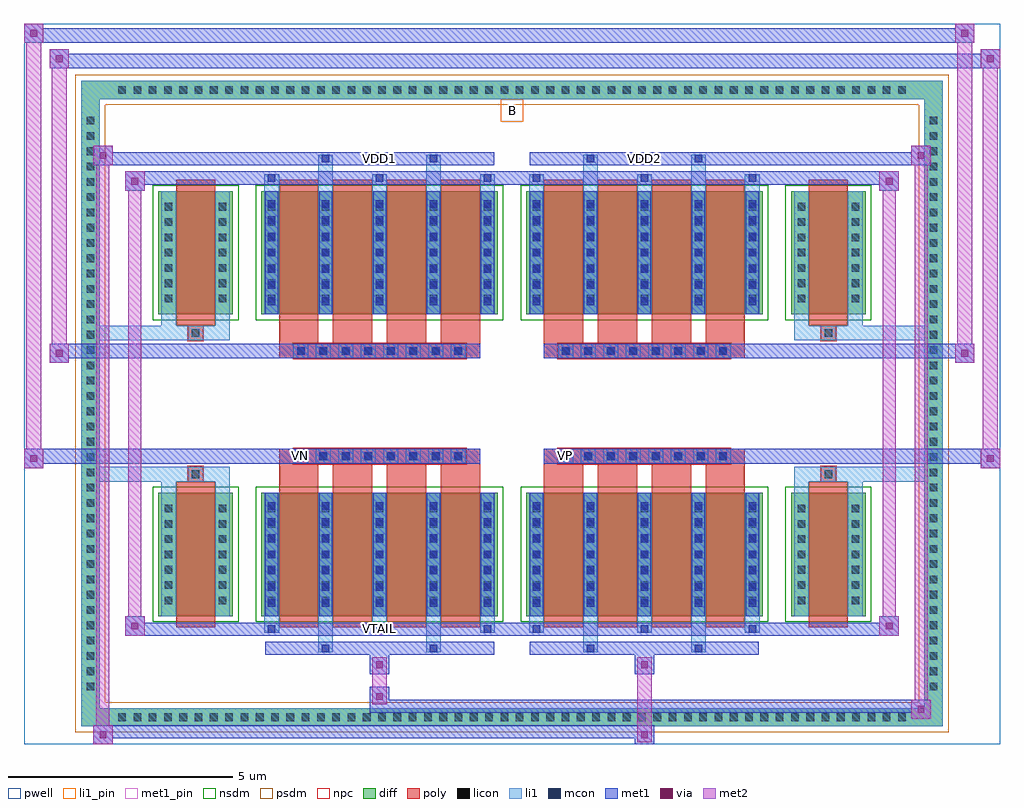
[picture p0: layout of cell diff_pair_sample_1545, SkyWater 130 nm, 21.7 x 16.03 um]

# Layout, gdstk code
import gdstk
lib = gdstk.Library(unit=1e-6, precision=5e-09)
def R(c, l, rs):  # rectangles x0, y0, x1, y1
    for r in rs: c.add(gdstk.rectangle(r[:2], r[2:], *l))
def A(c, l, x, y, w, h, nx, ny, dx, dy):  # array of equal rectangles
    R(c, l, [(x+i*dx, y+j*dy, x+i*dx+w, y+j*dy+h) for i in range(nx) for j in range(ny)])
def P(c, l, *ps):  # polygons
    for p in ps: c.add(gdstk.Polygon(p, *l))
pwell = (64, 44)
diff = (65, 20)
poly = (66, 20)
licon = (66, 44)
li1_pin = (67, 16)
li1 = (67, 20)
mcon = (67, 44)
met1_pin = (68, 16)
met1 = (68, 20)
via = (68, 44)
met2 = (69, 20)
nsdm = (93, 44)
psdm = (94, 20)
npc = (95, 20)

diff_pair_sample_1545 = lib.new_cell('diff_pair_sample_1545')
R(diff_pair_sample_1545, pwell, [(-10.85,-7.58,10.85,8.45), (-8.17,-5.77,-0.01,-0.805), (0.01,-5.77,8.17,-0.805), (-8.17,0.805,-0.01,5.77), (0.01,0.805,8.17,5.77)])
A(diff_pair_sample_1545, diff, -8.875, -7.18, 0.41, 0.41, 52, 2, 0.34, 13.95)
A(diff_pair_sample_1545, diff, -9.58, -6.495, 0.41, 0.41, 1, 38, 0, 0.34)
A(diff_pair_sample_1545, diff, 9.17, -6.495, 0.41, 0.41, 1, 38, 0, 0.34)
R(diff_pair_sample_1545, diff, [(-8.875,-7.18,8.875,-6.77), (-9.58,-6.495,-9.17,6.495), (9.17,-6.495,9.58,6.495), (-7.86,-4.725,-6.21,-1.985), (-5.57,-4.725,-0.32,-1.985), (0.32,-4.725,5.57,-1.985), (6.21,-4.725,7.86,-1.985), (-7.86,1.985,-6.21,4.725), (-5.57,1.985,-0.32,4.725), (0.32,1.985,5.57,4.725), (6.21,1.985,7.86,4.725), (-8.875,6.77,8.875,7.18)])
P(diff_pair_sample_1545, diff, [(9.58,7.18),(-9.58,7.18),(-9.58,-6.77),(-9.17,-6.77),(-9.17,6.77),(9.17,6.77),(9.17,-6.77),(-9.17,-6.77),(-9.58,-6.77),(-9.58,-7.18),(9.58,-7.18)])
A(diff_pair_sample_1545, poly, -5.18, -4.975, 0.87, 3.24, 4, 2, 1.2, 6.71)
A(diff_pair_sample_1545, poly, 0.71, -4.975, 0.87, 3.24, 4, 2, 1.2, 6.71)
A(diff_pair_sample_1545, poly, -5.18, -1.735, 0.87, 0.4, 4, 2, 1.2, 3.07)
A(diff_pair_sample_1545, poly, 0.71, -1.735, 0.87, 0.4, 4, 2, 1.2, 3.07)
A(diff_pair_sample_1545, poly, -4.86, -1.335, 0.33, 0.33, 8, 2, 0.5, 2.34)
A(diff_pair_sample_1545, poly, 1.03, -1.335, 0.33, 0.33, 8, 2, 0.5, 2.34)
R(diff_pair_sample_1545, poly, [(-7.47,-4.975,-6.6,-1.735), (6.6,-4.975,7.47,-1.735), (-7.2,-1.735,-6.87,-1.405), (-7.2,-1.735,-6.87,-1.405), (6.87,-1.735,7.2,-1.405), (6.87,-1.735,7.2,-1.405), (-5.18,-1.335,-0.71,-1.005), (0.71,-1.335,5.18,-1.005), (-5.18,1.005,-0.71,1.335), (0.71,1.005,5.18,1.335), (-7.2,1.405,-6.87,1.735), (-7.2,1.405,-6.87,1.735), (6.87,1.405,7.2,1.735), (6.87,1.405,7.2,1.735), (-7.47,1.735,-6.6,4.975), (6.6,1.735,7.47,4.975)])
A(diff_pair_sample_1545, licon, -8.755, -7.06, 0.17, 0.17, 52, 2, 0.34, 13.95)
A(diff_pair_sample_1545, licon, -9.46, -6.375, 0.17, 0.17, 1, 38, 0, 0.34)
A(diff_pair_sample_1545, licon, 9.29, -6.375, 0.17, 0.17, 1, 38, 0, 0.34)
A(diff_pair_sample_1545, licon, -7.72, -4.46, 0.17, 0.17, 1, 7, 0, 0.34)
A(diff_pair_sample_1545, licon, -6.52, -4.46, 0.17, 0.17, 1, 7, 0, 0.34)
A(diff_pair_sample_1545, licon, -5.43, -4.46, 0.17, 0.17, 5, 7, 1.2, 0.34)
A(diff_pair_sample_1545, licon, 0.46, -4.46, 0.17, 0.17, 5, 7, 1.2, 0.34)
A(diff_pair_sample_1545, licon, 6.35, -4.46, 0.17, 0.17, 1, 7, 0, 0.34)
A(diff_pair_sample_1545, licon, 7.55, -4.46, 0.17, 0.17, 1, 7, 0, 0.34)
A(diff_pair_sample_1545, licon, -4.78, -1.255, 0.17, 0.17, 8, 2, 0.5, 2.34)
A(diff_pair_sample_1545, licon, 1.11, -1.255, 0.17, 0.17, 8, 2, 0.5, 2.34)
A(diff_pair_sample_1545, licon, -7.72, 2.25, 0.17, 0.17, 1, 7, 0, 0.34)
A(diff_pair_sample_1545, licon, -6.52, 2.25, 0.17, 0.17, 1, 7, 0, 0.34)
A(diff_pair_sample_1545, licon, -5.43, 2.25, 0.17, 0.17, 5, 7, 1.2, 0.34)
A(diff_pair_sample_1545, licon, 0.46, 2.25, 0.17, 0.17, 5, 7, 1.2, 0.34)
A(diff_pair_sample_1545, licon, 6.35, 2.25, 0.17, 0.17, 1, 7, 0, 0.34)
A(diff_pair_sample_1545, licon, 7.55, 2.25, 0.17, 0.17, 1, 7, 0, 0.34)
R(diff_pair_sample_1545, licon, [(-7.12,-1.655,-6.95,-1.485), (6.95,-1.655,7.12,-1.485), (-7.12,1.485,-6.95,1.655), (6.95,1.485,7.12,1.655)])
R(diff_pair_sample_1545, li1_pin, [(-0.25,6.27,0.25,6.77)])
A(diff_pair_sample_1545, li1, -8.835, -7.14, 0.33, 0.33, 52, 2, 0.34, 13.95)
A(diff_pair_sample_1545, li1, -9.54, -6.455, 0.33, 0.33, 1, 38, 0, 0.34)
A(diff_pair_sample_1545, li1, 9.21, -6.455, 0.33, 0.33, 1, 38, 0, 0.34)
A(diff_pair_sample_1545, li1, -5.51, -5.1, 0.33, 0.375, 3, 2, 2.4, 9.825)
A(diff_pair_sample_1545, li1, -5.43, -5.1, 0.17, 0.17, 3, 2, 2.4, 10.03)
A(diff_pair_sample_1545, li1, 0.38, -5.1, 0.33, 0.375, 3, 2, 2.4, 9.825)
A(diff_pair_sample_1545, li1, 0.46, -5.1, 0.17, 0.17, 3, 2, 2.4, 10.03)
A(diff_pair_sample_1545, li1, -5.51, -4.725, 0.33, 2.74, 5, 2, 1.2, 6.71)
A(diff_pair_sample_1545, li1, 0.38, -4.725, 0.33, 2.74, 5, 2, 1.2, 6.71)
A(diff_pair_sample_1545, li1, -7.8, -4.54, 0.33, 0.33, 1, 7, 0, 0.34)
A(diff_pair_sample_1545, li1, -6.6, -4.54, 0.33, 0.33, 1, 7, 0, 0.34)
A(diff_pair_sample_1545, li1, -5.51, -4.54, 0.33, 0.33, 5, 7, 1.2, 0.34)
A(diff_pair_sample_1545, li1, 0.38, -4.54, 0.33, 0.33, 5, 7, 1.2, 0.34)
A(diff_pair_sample_1545, li1, 6.27, -4.54, 0.33, 0.33, 1, 7, 0, 0.34)
A(diff_pair_sample_1545, li1, 7.47, -4.54, 0.33, 0.33, 1, 7, 0, 0.34)
A(diff_pair_sample_1545, li1, -5.43, -4.52, 0.17, 0.17, 5, 7, 1.2, 0.36)
A(diff_pair_sample_1545, li1, -5.43, -4.52, 0.17, 2.33, 5, 2, 1.2, 6.71)
A(diff_pair_sample_1545, li1, 0.46, -4.52, 0.17, 0.17, 5, 7, 1.2, 0.36)
A(diff_pair_sample_1545, li1, 0.46, -4.52, 0.17, 2.33, 5, 2, 1.2, 6.71)
A(diff_pair_sample_1545, li1, -4.86, -1.335, 0.33, 0.33, 8, 2, 0.5, 2.34)
A(diff_pair_sample_1545, li1, 1.03, -1.335, 0.33, 0.33, 8, 2, 0.5, 2.34)
A(diff_pair_sample_1545, li1, -7.8, 2.17, 0.33, 0.33, 1, 7, 0, 0.34)
A(diff_pair_sample_1545, li1, -6.6, 2.17, 0.33, 0.33, 1, 7, 0, 0.34)
A(diff_pair_sample_1545, li1, -5.51, 2.17, 0.33, 0.33, 5, 7, 1.2, 0.34)
A(diff_pair_sample_1545, li1, 0.38, 2.17, 0.33, 0.33, 5, 7, 1.2, 0.34)
A(diff_pair_sample_1545, li1, 6.27, 2.17, 0.33, 0.33, 1, 7, 0, 0.34)
A(diff_pair_sample_1545, li1, 7.47, 2.17, 0.33, 0.33, 1, 7, 0, 0.34)
A(diff_pair_sample_1545, li1, -5.43, 2.19, 0.17, 0.17, 5, 7, 1.2, 0.36)
A(diff_pair_sample_1545, li1, 0.46, 2.19, 0.17, 0.17, 5, 7, 1.2, 0.36)
R(diff_pair_sample_1545, li1, [(-9.58,-7.18,-9.17,-6.77), (-9.58,-7.18,-9.17,-6.77), (-9.17,-7.18,9.17,-6.77), (9.17,-7.18,9.58,-6.77), (9.17,-7.18,9.58,-6.77), (-9.58,-6.77,-9.17,6.77), (9.17,-6.77,9.58,6.77), (-4.31,-5.53,-3.98,-4.725), (-4.23,-5.53,-4.06,-5.36), (-1.91,-5.53,-1.58,-4.725), (-1.83,-5.53,-1.66,-5.36), (1.58,-5.53,1.91,-4.725), (1.66,-5.53,1.83,-5.36), (3.98,-5.53,4.31,-4.725), (4.06,-5.53,4.23,-5.36), (-7.8,-4.725,-7.47,-1.985), (-6.6,-4.725,-6.27,-1.985), (6.27,-4.725,6.6,-1.985), (7.47,-4.725,7.8,-1.985), (-7.8,-1.985,-7.47,-1.405), (-6.6,-1.985,-6.27,-1.405), (6.27,-1.985,6.6,-1.405), (7.47,-1.985,7.8,-1.405), (-9.58,-1.735,-7.2,-1.405), (-7.8,-1.735,-7.2,-1.405), (-7.2,-1.735,-6.87,-1.405), (-6.87,-1.735,-6.27,-1.405), (6.27,-1.735,6.87,-1.405), (6.87,-1.735,7.2,-1.405), (6.87,-1.735,9.58,-1.405), (7.2,-1.735,7.8,-1.405), (-9.58,1.405,-7.2,1.735), (-7.8,1.405,-7.2,1.735), (-7.8,1.405,-7.47,1.985), (-7.2,1.405,-6.87,1.735), (-6.87,1.405,-6.27,1.735), (-6.6,1.405,-6.27,1.985), (6.27,1.405,6.87,1.735), (6.27,1.405,6.6,1.985), (6.87,1.405,7.2,1.735), (6.87,1.405,9.58,1.735), (7.2,1.405,7.8,1.735), (7.47,1.405,7.8,1.985), (-7.8,1.985,-7.47,4.725), (-6.6,1.985,-6.27,4.725), (6.27,1.985,6.6,4.725), (7.47,1.985,7.8,4.725), (-4.31,4.725,-3.98,5.53), (-1.91,4.725,-1.58,5.53), (1.58,4.725,1.91,5.53), (3.98,4.725,4.31,5.53), (-4.23,5.36,-4.06,5.53), (-1.83,5.36,-1.66,5.53), (1.66,5.36,1.83,5.53), (4.06,5.36,4.23,5.53), (-9.58,6.77,-9.17,7.18), (-9.58,6.77,-9.17,7.18), (-9.17,6.77,9.17,7.18), (9.17,6.77,9.58,7.18), (9.17,6.77,9.58,7.18)])
A(diff_pair_sample_1545, mcon, -5.43, -5.1, 0.17, 0.17, 3, 2, 2.4, 10.03)
A(diff_pair_sample_1545, mcon, 0.46, -5.1, 0.17, 0.17, 3, 2, 2.4, 10.03)
A(diff_pair_sample_1545, mcon, -5.43, -4.52, 0.17, 0.17, 5, 7, 1.2, 0.36)
A(diff_pair_sample_1545, mcon, 0.46, -4.52, 0.17, 0.17, 5, 7, 1.2, 0.36)
A(diff_pair_sample_1545, mcon, -4.78, -1.255, 0.17, 0.17, 8, 2, 0.5, 2.34)
A(diff_pair_sample_1545, mcon, 1.11, -1.255, 0.17, 0.17, 8, 2, 0.5, 2.34)
A(diff_pair_sample_1545, mcon, -5.43, 2.19, 0.17, 0.17, 5, 7, 1.2, 0.36)
A(diff_pair_sample_1545, mcon, 0.46, 2.19, 0.17, 0.17, 5, 7, 1.2, 0.36)
R(diff_pair_sample_1545, mcon, [(-4.23,-5.53,-4.06,-5.36), (-1.83,-5.53,-1.66,-5.36), (1.66,-5.53,1.83,-5.36), (4.06,-5.53,4.23,-5.36), (-4.23,5.36,-4.06,5.53), (-1.83,5.36,-1.66,5.53), (1.66,5.36,1.83,5.53), (4.06,5.36,4.23,5.53)])
R(diff_pair_sample_1545, met1_pin, [(-3.08,-5.14,-2.81,-4.87), (-4.83,-1.295,-4.56,-1.025), (1.06,-1.295,1.33,-1.025), (-3.08,5.32,-2.81,5.59), (2.81,5.32,3.08,5.59)])
A(diff_pair_sample_1545, met1, -5.49, -5.16, 0.29, 0.29, 3, 2, 2.4, 10.03)
A(diff_pair_sample_1545, met1, 0.4, -5.16, 0.29, 0.29, 3, 2, 2.4, 10.03)
A(diff_pair_sample_1545, met1, -5.49, -4.725, 0.29, 2.74, 5, 2, 1.2, 6.71)
A(diff_pair_sample_1545, met1, 0.4, -4.725, 0.29, 2.74, 5, 2, 1.2, 6.71)
A(diff_pair_sample_1545, met1, -5.49, -4.58, 0.29, 0.29, 5, 7, 1.2, 0.36)
A(diff_pair_sample_1545, met1, 0.4, -4.58, 0.29, 0.29, 5, 7, 1.2, 0.36)
A(diff_pair_sample_1545, met1, -4.84, -1.315, 0.29, 0.29, 8, 2, 0.5, 2.34)
A(diff_pair_sample_1545, met1, 1.05, -1.315, 0.29, 0.29, 8, 2, 0.5, 2.34)
A(diff_pair_sample_1545, met1, -5.49, 2.13, 0.29, 0.29, 5, 7, 1.2, 0.36)
A(diff_pair_sample_1545, met1, 0.4, 2.13, 0.29, 0.29, 5, 7, 1.2, 0.36)
R(diff_pair_sample_1545, met1, [(-9.31,-7.58,-8.88,-7.15), (2.73,-7.58,3.16,-7.15), (-9.31,-7.44,3.16,-7.15), (8.88,-7.01,9.31,-6.58), (-3.16,-6.87,9.31,-6.58), (-3.16,-6.73,-2.73,-6.3), (-3.16,-6.02,-2.73,-5.59), (2.73,-6.02,3.16,-5.59), (-5.49,-5.59,-0.4,-5.3), (-4.29,-5.59,-4,-5.3), (-1.89,-5.59,-1.6,-5.3), (0.4,-5.59,5.49,-5.3), (1.6,-5.59,1.89,-5.3), (4,-5.59,4.29,-5.3), (-8.6,-5.16,-8.17,-4.73), (-8.6,-5.16,-5.49,-4.87), (-5.49,-5.16,-0.4,-4.87), (-0.4,-5.16,0.4,-4.87), (0.4,-5.16,5.49,-4.87), (5.49,-5.16,8.6,-4.87), (8.17,-5.16,8.6,-4.73), (-10.85,-1.435,-10.42,-1.005), (10.42,-1.435,10.85,-1.005), (-10.85,-1.335,-0.71,-1.005), (-5.18,-1.335,-0.71,-1.005), (0.71,-1.335,5.18,-1.005), (0.71,-1.335,10.85,-1.005), (-10.28,0.905,-9.85,1.335), (9.85,0.905,10.28,1.335), (-10.28,1.005,-5.18,1.335), (-5.18,1.005,-0.71,1.335), (0.71,1.005,5.18,1.335), (5.18,1.005,10.28,1.335), (-8.6,4.73,-8.17,5.16), (8.17,4.73,8.6,5.16), (-8.6,4.87,-5.49,5.16), (-5.49,4.87,-0.4,5.16), (-0.4,4.87,0.4,5.16), (0.4,4.87,5.49,5.16), (5.49,4.87,8.6,5.16), (-9.31,5.3,-8.88,5.73), (-9.31,5.3,-5.49,5.59), (-5.49,5.3,-0.4,5.59), (-4.29,5.3,-4,5.59), (-1.89,5.3,-1.6,5.59), (0.4,5.3,5.49,5.59), (1.6,5.3,1.89,5.59), (4,5.3,4.29,5.59), (5.49,5.3,9.31,5.59), (8.88,5.3,9.31,5.73), (-10.28,7.45,-9.85,7.88), (-10.28,7.45,-8.17,7.78), (-8.17,7.45,8.17,7.78), (8.17,7.45,10.85,7.78), (10.42,7.45,10.85,7.88), (-10.85,8.02,-10.42,8.45), (-10.85,8.02,-8.17,8.35), (-8.17,8.02,8.17,8.35), (8.17,8.02,10.28,8.35), (9.85,8.02,10.28,8.45)])
R(diff_pair_sample_1545, via, [(-9.17,-7.44,-9.02,-7.29), (2.87,-7.44,3.02,-7.29), (9.02,-6.87,9.17,-6.72), (-3.02,-6.59,-2.87,-6.44), (-3.02,-5.88,-2.87,-5.73), (2.87,-5.88,3.02,-5.73), (-8.46,-5.02,-8.31,-4.87), (8.31,-5.02,8.46,-4.87), (-10.71,-1.295,-10.56,-1.145), (10.56,-1.295,10.71,-1.145), (-10.14,1.045,-9.99,1.195), (9.99,1.045,10.14,1.195), (-8.46,4.87,-8.31,5.02), (8.31,4.87,8.46,5.02), (-9.17,5.44,-9.02,5.59), (9.02,5.44,9.17,5.59), (-10.14,7.59,-9.99,7.74), (10.56,7.59,10.71,7.74), (-10.71,8.16,-10.56,8.31), (9.99,8.16,10.14,8.31)])
R(diff_pair_sample_1545, met2, [(-9.31,-7.58,-8.88,-7.15), (-9.24,-7.58,-8.95,5.73), (-8.95,-7.58,-8.88,-7.15), (-9.26,-7.53,-8.93,-7.2), (2.78,-7.53,3.11,-7.2), (2.78,-7.2,3.11,-5.97), (8.88,-7.01,9.31,-6.58), (8.95,-7.01,9.24,5.73), (9.24,-7.01,9.31,-6.58), (8.93,-6.96,9.26,-6.63), (-3.11,-6.68,-2.78,-6.35), (-3.11,-6.35,-2.78,-5.97), (-3.11,-5.97,-2.78,-5.64), (2.78,-5.97,3.11,-5.64), (-8.6,-5.16,-8.17,-4.73), (-8.53,-5.16,-8.24,5.16), (-8.24,-5.16,-8.17,-4.73), (8.17,-5.16,8.6,-4.73), (8.24,-5.16,8.53,5.16), (8.53,-5.16,8.6,-4.73), (-8.55,-5.11,-8.22,-4.78), (8.22,-5.11,8.55,-4.78), (-10.85,-1.435,-10.42,-1.005), (-10.8,-1.435,-10.47,8.45), (-10.47,-1.435,-10.42,-1.005), (10.42,-1.435,10.85,-1.005), (10.47,-1.435,10.8,7.88), (10.8,-1.435,10.85,-1.005), (-10.8,-1.385,-10.47,-1.055), (10.47,-1.385,10.8,-1.055), (-10.28,0.905,-9.85,1.335), (-10.23,0.905,-9.9,7.88), (-9.9,0.905,-9.85,1.335), (9.85,0.905,10.28,1.335), (9.9,0.905,10.23,8.45), (10.23,0.905,10.28,1.335), (-10.23,0.955,-9.9,1.285), (9.9,0.955,10.23,1.285), (-8.6,4.73,-8.17,5.16), (-8.24,4.73,-8.17,5.16), (8.17,4.73,8.6,5.16), (8.53,4.73,8.6,5.16), (-8.55,4.78,-8.22,5.11), (8.22,4.78,8.55,5.11), (-9.31,5.3,-8.88,5.73), (-8.95,5.3,-8.88,5.73), (8.88,5.3,9.31,5.73), (9.24,5.3,9.31,5.73), (-9.26,5.35,-8.93,5.68), (8.93,5.35,9.26,5.68), (-10.28,7.45,-9.85,7.88), (-9.9,7.45,-9.85,7.88), (10.42,7.45,10.85,7.88), (10.8,7.45,10.85,7.88), (-10.23,7.5,-9.9,7.83), (10.47,7.5,10.8,7.83), (-10.85,8.02,-10.42,8.45), (-10.47,8.02,-10.42,8.45), (9.85,8.02,10.28,8.45), (10.23,8.02,10.28,8.45), (-10.8,8.07,-10.47,8.4), (9.9,8.07,10.23,8.4)])
R(diff_pair_sample_1545, nsdm, [(-7.99,-4.855,-6.08,-1.855), (-5.7,-4.855,-0.19,-1.855), (0.19,-4.855,5.7,-1.855), (6.08,-4.855,7.99,-1.855), (-7.99,1.855,-6.08,4.855), (-5.7,1.855,-0.19,4.855), (0.19,1.855,5.7,4.855), (6.08,1.855,7.99,4.855)])
P(diff_pair_sample_1545, psdm, [(9.71,7.31),(-9.71,7.31),(-9.71,-6.64),(-9.04,-6.64),(-9.04,6.64),(9.04,6.64),(9.04,-6.64),(-9.04,-6.64),(-9.71,-6.64),(-9.71,-7.31),(9.71,-7.31)])
A(diff_pair_sample_1545, npc, -4.88, -1.355, 0.37, 0.37, 8, 2, 0.5, 2.34)
A(diff_pair_sample_1545, npc, 1.01, -1.355, 0.37, 0.37, 8, 2, 0.5, 2.34)
R(diff_pair_sample_1545, npc, [(-7.22,-1.755,-6.85,-1.385), (6.85,-1.755,7.22,-1.385), (-4.88,-1.355,-4.01,-0.985), (-4.88,-1.355,-4.01,-0.985), (-4.38,-1.355,-3.51,-0.985), (-4.38,-1.355,-3.51,-0.985), (-3.88,-1.355,-3.01,-0.985), (-3.88,-1.355,-3.01,-0.985), (-3.38,-1.355,-2.51,-0.985), (-3.38,-1.355,-2.51,-0.985), (-2.88,-1.355,-2.01,-0.985), (-2.88,-1.355,-2.01,-0.985), (-2.38,-1.355,-1.51,-0.985), (-2.38,-1.355,-1.51,-0.985), (-1.88,-1.355,-1.01,-0.985), (-1.88,-1.355,-1.01,-0.985), (1.01,-1.355,1.88,-0.985), (1.01,-1.355,1.88,-0.985), (1.51,-1.355,2.38,-0.985), (1.51,-1.355,2.38,-0.985), (2.01,-1.355,2.88,-0.985), (2.01,-1.355,2.88,-0.985), (2.51,-1.355,3.38,-0.985), (2.51,-1.355,3.38,-0.985), (3.01,-1.355,3.88,-0.985), (3.01,-1.355,3.88,-0.985), (3.51,-1.355,4.38,-0.985), (3.51,-1.355,4.38,-0.985), (4.01,-1.355,4.88,-0.985), (4.01,-1.355,4.88,-0.985), (-4.88,0.985,-4.01,1.355), (-4.88,0.985,-4.01,1.355), (-4.38,0.985,-3.51,1.355), (-4.38,0.985,-3.51,1.355), (-3.88,0.985,-3.01,1.355), (-3.88,0.985,-3.01,1.355), (-3.38,0.985,-2.51,1.355), (-3.38,0.985,-2.51,1.355), (-2.88,0.985,-2.01,1.355), (-2.88,0.985,-2.01,1.355), (-2.38,0.985,-1.51,1.355), (-2.38,0.985,-1.51,1.355), (-1.88,0.985,-1.01,1.355), (-1.88,0.985,-1.01,1.355), (1.01,0.985,1.88,1.355), (1.01,0.985,1.88,1.355), (1.51,0.985,2.38,1.355), (1.51,0.985,2.38,1.355), (2.01,0.985,2.88,1.355), (2.01,0.985,2.88,1.355), (2.51,0.985,3.38,1.355), (2.51,0.985,3.38,1.355), (3.01,0.985,3.88,1.355), (3.01,0.985,3.88,1.355), (3.51,0.985,4.38,1.355), (3.51,0.985,4.38,1.355), (4.01,0.985,4.88,1.355), (4.01,0.985,4.88,1.355), (-7.22,1.385,-6.85,1.755), (6.85,1.385,7.22,1.755)])
diff_pair_sample_1545.add(gdstk.Label('VTAIL', (-2.945,-5.005), layer=68, texttype=5))
diff_pair_sample_1545.add(gdstk.Label('VN', (-4.695,-1.16), layer=68, texttype=5))
diff_pair_sample_1545.add(gdstk.Label('VP', (1.195,-1.16), layer=68, texttype=5))
diff_pair_sample_1545.add(gdstk.Label('B', (0,6.52), layer=67, texttype=5))
diff_pair_sample_1545.add(gdstk.Label('VDD2', (2.945,5.455), layer=68, texttype=5))
diff_pair_sample_1545.add(gdstk.Label('VDD1', (-2.945,5.455), layer=68, texttype=5))

lib.write_gds('diff_pair_sample_1545.gds')
